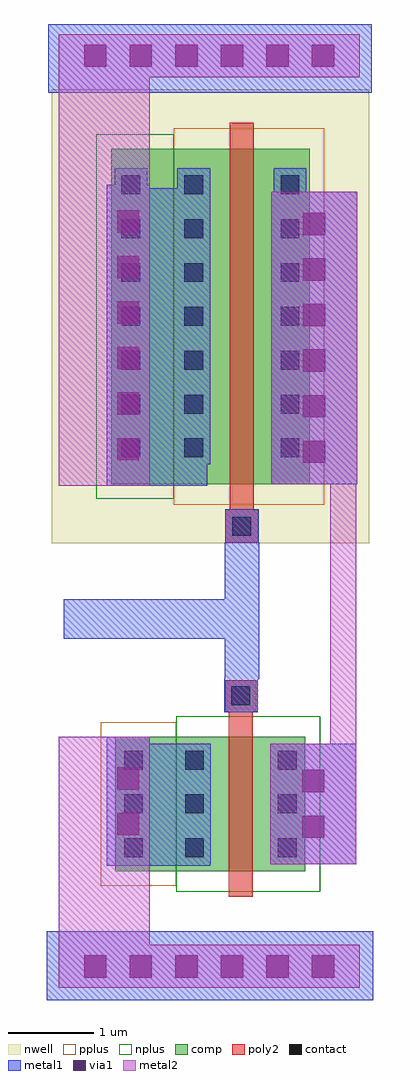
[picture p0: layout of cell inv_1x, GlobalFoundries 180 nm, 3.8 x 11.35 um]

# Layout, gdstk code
from math import pi, radians
import gdstk
lib = gdstk.Library(unit=1e-6, precision=1e-09)
def R(c, l, rs):  # rectangles x0, y0, x1, y1
    for r in rs: c.add(gdstk.rectangle(r[:2], r[2:], *l))
def A(c, l, x, y, w, h, nx, ny, dx, dy):  # array of equal rectangles
    R(c, l, [(x+i*dx, y+j*dy, x+i*dx+w, y+j*dy+h) for i in range(nx) for j in range(ny)])
def P(c, l, *ps):  # polygons
    for p in ps: c.add(gdstk.Polygon(p, *l))
nwell = (21, 0)
comp = (22, 0)
poly2 = (30, 0)
pplus = (31, 0)
nplus = (32, 0)
contact = (33, 0)
metal1 = (34, 0)
via1 = (35, 0)
metal2 = (36, 0)

pfet_1 = lib.new_cell('pfet$1')
R(pfet_1, nwell, [(-1.15,-0.69,2.54,4.59)])
R(pfet_1, comp, [(-0.46,0,0,3.9), (0,0,0.66,3.9), (0.66,0,1.12,3.9), (1.12,0,1.85,3.9)])
R(pfet_1, poly2, [(0.14,-0.68,0.52,-0.3), (0.19,-0.3,0.47,4.2)])
R(pfet_1, pplus, [(-0.63,-0.24,1.12,4.14)])
R(pfet_1, nplus, [(1.12,-0.17,2.02,4.07)])
A(pfet_1, contact, -0.34, 0.31, 0.22, 0.22, 1, 7, 0, 0.51)
A(pfet_1, contact, 0.78, 0.31, 0.22, 0.22, 1, 7, 0, 0.51)
A(pfet_1, contact, 1.51, 0.31, 0.22, 0.22, 1, 7, 0, 0.51)
R(pfet_1, contact, [(0.22,-0.6,0.44,-0.38)])
R(pfet_1, metal1, [(0.14,-0.681,0.52,-0.299), (-0.42,0.23,-0.04,3.67), (0.7,0.23,1.08,3.67), (1.43,0.23,1.81,3.67)])

via_dev_2 = lib.new_cell('via_dev$2')
R(via_dev_2, metal1, [(0,0,0.5,1.5)])
R(via_dev_2, via1, [(0.12,0.355,0.38,0.615), (0.12,0.885,0.38,1.145)])
R(via_dev_2, metal2, [(0,0,0.5,1.5)])

nfet = lib.new_cell('nfet')
R(nfet, comp, [(-0.42,0,0,1.56), (0,0,0.66,1.56), (0.66,0,1.08,1.56), (1.08,0,1.79,1.56)])
R(nfet, poly2, [(0.19,-0.3,0.47,1.86), (0.15,1.86,0.51,2.22)])
R(nfet, pplus, [(1.08,-0.17,1.96,1.73)])
R(nfet, nplus, [(-0.59,-0.24,1.08,1.8)])
A(nfet, contact, -0.32, 0.16, 0.22, 0.22, 1, 3, 0, 0.51)
A(nfet, contact, 0.76, 0.16, 0.22, 0.22, 1, 3, 0, 0.51)
A(nfet, contact, 1.47, 0.16, 0.22, 0.22, 1, 3, 0, 0.51)
R(nfet, contact, [(0.22,1.93,0.44,2.15)])
R(nfet, metal1, [(-0.4,0.08,-0.02,1.48), (0.68,0.08,1.06,1.48), (1.39,0.08,1.77,1.48), (0.14,1.849,0.52,2.231)])

via_dev_3 = lib.new_cell('via_dev$3')
R(via_dev_3, metal1, [(0,0,0.5,3.5)])
A(via_dev_3, via1, 0.12, 0.295, 0.26, 0.26, 1, 6, 0, 0.53)
R(via_dev_3, metal2, [(0,0,0.5,3.5)])

via_dev = lib.new_cell('via_dev')
R(via_dev, metal1, [(0,0,3.5,0.5)])
A(via_dev, via1, 0.295, 0.12, 0.26, 0.26, 6, 1, 0.53, 0)
R(via_dev, metal2, [(0,0,3.5,0.5)])

via_dev_5 = lib.new_cell('via_dev$5')
R(via_dev_5, metal1, [(0,0,1,1.4)])
R(via_dev_5, via1, [(0.37,0.305,0.63,0.565), (0.37,0.835,0.63,1.095)])
R(via_dev_5, metal2, [(0,0,1,1.4)])

via_dev_6 = lib.new_cell('via_dev$6')
R(via_dev_6, metal1, [(0,0,1,3.4)])
A(via_dev_6, via1, 0.37, 0.245, 0.26, 0.26, 1, 6, 0, 0.53)
R(via_dev_6, metal2, [(0,0,1,3.4)])

inv_1x = lib.new_cell('inv_1x')
R(inv_1x, metal1, [(-0.6,-8,3.2,-7.2), (0.15,-6.44,1.3,-5.02), (1.465,-4.655,1.855,-4.265), (1.468,-4.652,1.851,-4.268), (1.47,-4.27,1.482,-4.268), (1.47,-4.27,1.87,-2.68), (-0.4,-3.8,1.87,-3.34), (1.475,-2.685,1.862,-2.298), (1.862,-2.685,1.865,-2.295), (1.48,-2.639,1.86,-2.638), (1.475,-2.3,1.864,-2.295), (0.12,-2.02,1.27,1.44), (-0.58,2.55,3.18,3.35)])
P(inv_1x, metal1, [(1.48,-4.64),(1.48,-4.64),(1.86,-4.64),(1.86,-4.64)],
  [(1.48,-2.3),(1.48,-2.3),(1.86,-2.3),(1.86,-2.3)])
R(inv_1x, metal2, [(-0.46,-7.86,0.6,-4.94), (2.7,-5.035,3,-1.46), (-0.46,-2.02,0.6,3.06)])
inv_1x.add(gdstk.Reference(pfet_1, (2,-2), rotation=pi, x_reflection=True))
inv_1x.add(gdstk.Reference(via_dev_2, (0.1,-6.44)))
inv_1x.add(gdstk.Reference(nfet, (1.99,-6.5), rotation=pi, x_reflection=True))
inv_1x.add(gdstk.Reference(via_dev_3, (0.1,-2.02)))
inv_1x.add(gdstk.Reference(via_dev, (-0.46,-7.86)))
inv_1x.add(gdstk.Reference(via_dev, (-0.46,2.73)))
inv_1x.add(gdstk.Reference(via_dev_5, (2,-6.42)))
inv_1x.add(gdstk.Reference(via_dev_6, (2.01,-2)))

lib.write_gds('inv_1x.gds')
